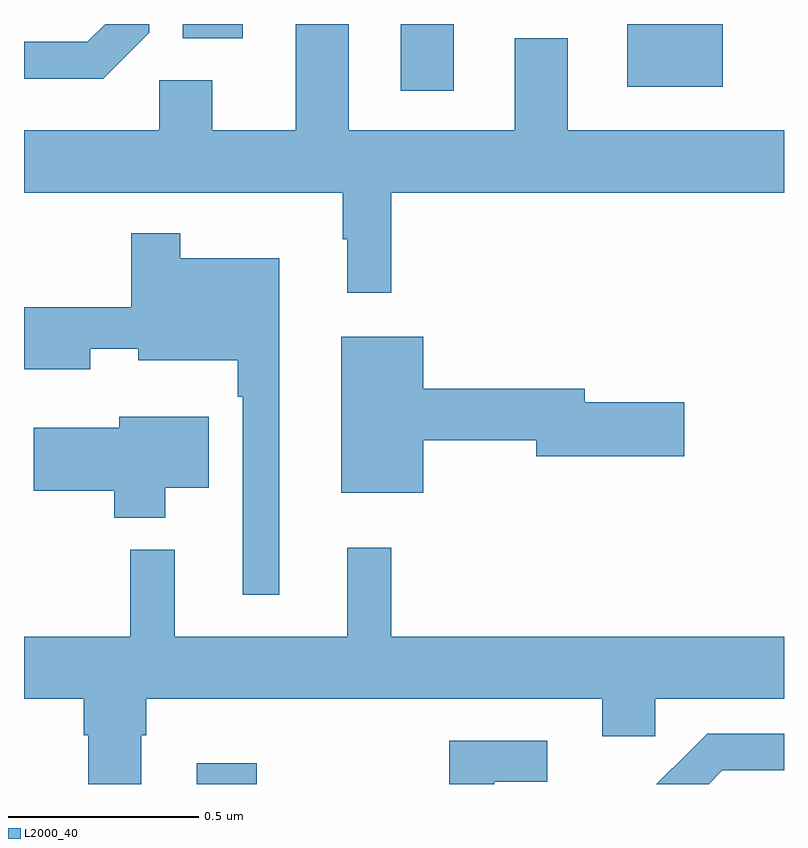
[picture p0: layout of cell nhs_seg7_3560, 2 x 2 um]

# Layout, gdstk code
import gdstk
lib = gdstk.Library(unit=1e-6, precision=1e-09)
def R(c, l, rs):  # rectangles x0, y0, x1, y1
    for r in rs: c.add(gdstk.rectangle(r[:2], r[2:], *l))
def P(c, l, *ps):  # polygons
    for p in ps: c.add(gdstk.Polygon(p, *l))
L2000_40 = (2000, 40)

nhs_seg7_3560 = lib.new_cell('nhs_seg7_3560')
R(nhs_seg7_3560, L2000_40, [(160.454,1059,160.613,1059.055), (160.991,1060.824,161.131,1061), (161.588,1060.835,161.839,1061), (160.418,1060.962,160.576,1061)])
P(nhs_seg7_3560, L2000_40, [(160.967,1060.556),(162,1060.556),(162,1060.72),(161.431,1060.72),(161.431,1060.963),(161.291,1060.963),(161.291,1060.72),(160.855,1060.72),(160.855,1061),(160.715,1061),(160.715,1060.72),(160.495,1060.72),(160.495,1060.852),(160.356,1060.852),(160.356,1060.72),(160,1060.72),(160,1060.556),(160.839,1060.556),(160.839,1060.433),(160.85,1060.433),(160.85,1060.293),(160.967,1060.293)],
  [(160.329,1060.977),(160.329,1061),(160.214,1061),(160.167,1060.953),(160,1060.953),(160,1060.856),(160.208,1060.856)],
  [(160.672,1060.384),(160.411,1060.384),(160.411,1060.45),(160.282,1060.45),(160.282,1060.255),(160,1060.255),(160,1060.091),(160.174,1060.091),(160.174,1060.145),(160.301,1060.145),(160.301,1060.115),(160.563,1060.115),(160.563,1060.019),(160.575,1060.019),(160.575,1059.498),(160.672,1059.498)],
  [(161.05,1059.904),(161.348,1059.904),(161.348,1059.862),(161.737,1059.862),(161.737,1060.004),(161.476,1060.004),(161.476,1060.04),(161.05,1060.04),(161.05,1060.177),(160.835,1060.177),(160.835,1059.767),(161.05,1059.767)],
  [(160.372,1059.779),(160.486,1059.779),(160.486,1059.967),(160.25,1059.967),(160.25,1059.937),(160.026,1059.937),(160.026,1059.772),(160.238,1059.772),(160.238,1059.701),(160.372,1059.701)],
  [(160.309,1059.128),(160.322,1059.128),(160.322,1059.224),(161.522,1059.224),(161.522,1059.126),(161.661,1059.126),(161.661,1059.224),(162,1059.224),(162,1059.388),(160.967,1059.388),(160.967,1059.622),(160.85,1059.622),(160.85,1059.388),(160.397,1059.388),(160.397,1059.616),(160.279,1059.616),(160.279,1059.388),(160,1059.388),(160,1059.224),(160.157,1059.224),(160.157,1059.128),(160.169,1059.128),(160.169,1059),(160.309,1059)],
  [(161.838,1059.036),(162,1059.036),(162,1059.132),(161.798,1059.132),(161.707,1059.041),(161.706,1059.042),(161.664,1059),(161.802,1059)],
  [(161.237,1059.006),(161.377,1059.006),(161.377,1059.114),(161.119,1059.114),(161.119,1059),(161.237,1059)])

lib.write_gds('nhs_seg7_3560.gds')
